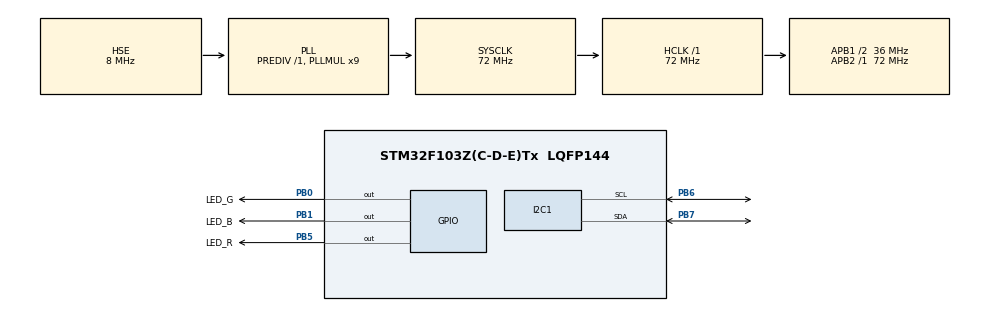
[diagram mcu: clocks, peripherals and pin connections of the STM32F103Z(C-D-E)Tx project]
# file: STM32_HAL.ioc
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I2C1.I2C_Mode=I2C_Fast
Mcu.Family=STM32F1
Mcu.Name=STM32F103Z(C-D-E)Tx
Mcu.Package=LQFP144
NVIC.PriorityGroup=NVIC_PRIORITYGROUP_4
OSC_IN.Mode=HSE-External-Oscillator
OSC_IN.Signal=RCC_OSC_IN
OSC_OUT.Mode=HSE-External-Oscillator
OSC_OUT.Signal=RCC_OSC_OUT
PA13.Mode=JTAG_5_pins
PA13.Signal=SYS_JTMS-SWDIO
PA14.Mode=JTAG_5_pins
PA14.Signal=SYS_JTCK-SWCLK
PA15.Mode=JTAG_5_pins
PA15.Signal=SYS_JTDI
PB0.GPIO_Label=LED_G
PB0.GPIO_Speed=GPIO_SPEED_FREQ_HIGH
PB0.PinState=GPIO_PIN_SET
PB0.Signal=GPIO_Output
PB1.GPIO_Label=LED_B
PB1.GPIO_Speed=GPIO_SPEED_FREQ_HIGH
PB1.PinState=GPIO_PIN_SET
PB1.Signal=GPIO_Output
PB3.Mode=JTAG_5_pins
PB3.Signal=SYS_JTDO-TRACESWO
PB4.Mode=JTAG_5_pins
PB4.Signal=SYS_NJTRST
PB5.GPIO_Label=LED_R
PB5.GPIO_Speed=GPIO_SPEED_FREQ_HIGH
PB5.PinState=GPIO_PIN_SET
PB5.Signal=GPIO_Output
PB6.Mode=I2C
PB6.Signal=I2C1_SCL
PB7.Mode=I2C
PB7.Signal=I2C1_SDA
PC14-OSC32_IN.Mode=LSE-External-Oscillator
PC14-OSC32_IN.Signal=RCC_OSC32_IN
PC15-OSC32_OUT.Mode=LSE-External-Oscillator
PC15-OSC32_OUT.Signal=RCC_OSC32_OUT
ProjectManager.HeapSize=0x200
ProjectManager.StackSize=0x400
ProjectManager.TargetToolchain=CMake
RCC.AHBFreq_Value=72000000
RCC.APB1CLKDivider=RCC_HCLK_DIV2
RCC.APB1Freq_Value=36000000
RCC.APB1TimFreq_Value=72000000
RCC.APB2Freq_Value=72000000
RCC.APB2TimFreq_Value=72000000
RCC.HCLKFreq_Value=72000000
RCC.PLLMUL=RCC_PLL_MUL9
RCC.PLLSourceVirtual=RCC_PLLSOURCE_HSE
RCC.SYSCLKFreq_VALUE=72000000
RCC.SYSCLKSource=RCC_SYSCLKSOURCE_PLLCLK
RCC.USBFreq_Value=72000000
TIM6.Prescaler=72-1
VP_TIM6_VS_ClockSourceINT.Mode=Enable_Timer
board=custom

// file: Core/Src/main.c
/* USER CODE BEGIN Header */
/**
  ******************************************************************************
  * @file           : main.c
  * @brief          : Main program body
  ******************************************************************************
  * @attention
  *
  * Copyright (c) 2024 STMicroelectronics.
  * All rights reserved.
  *
  * This software is licensed under terms that can be found in the LICENSE file
  * in the root directory of this software component.
  * If no LICENSE file comes with this software, it is provided AS-IS.
  *
  ******************************************************************************
  */
/* USER CODE END Header */
#include "main.h"
#include "i2c.h"
#include "tim.h"
#include "gpio.h"

/* USER CODE BEGIN Includes */

#include <stdio.h>
#include "uart.h"
#include "my_dma.h"
#include "oled.h"
#include "tm1637.h"

/* USER CODE END Includes */

/* USER CODE BEGIN PM */

// R: PB5, G: PB0, B: PB1
// #define LED_G 0b111111111111111111111111 11111110
// #define LED_B 0b111111111111111111111111 11111101
// #define LED_R 0b111111111111111111111111 11011111

#define LED_R 0xFFFFFFDF
#define LED_G 0xFFFFFFFE
#define LED_B 0xFFFFFFFD

/* USER CODE END PM */

/* USER CODE BEGIN PV */
uint32_t ledColorArray[] = {LED_R, LED_G, LED_B};
// static uint8_t ledColorIndex = 0;

extern UART_HandleTypeDef uart1Handle;
extern DMA_HandleTypeDef uart1RxDMAHandle;
uint8_t uartRecvBuf[256];
uint32_t count = 0;

extern TIM_HandleTypeDef htim6;

/* USER CODE END PV */

void SystemClock_Config(void);

int main(void)
{

  /* MCU Configuration--------------------------------------------------------*/

  /* Reset of all peripherals, Initializes the Flash interface and the Systick. */
  HAL_Init();

  /* Configure the system clock */
  SystemClock_Config();

  /* Initialize all configured peripherals */
  MX_GPIO_Init();
  MX_I2C1_Init();
  MX_TIM6_Init();
  /* USER CODE BEGIN 2 */

  // UART1 and DMA
  HAL_StatusTypeDef dmaInitStat = InitUART1DMA();
  InitBoardUART();

  // OLED
  // 0x78: OLED i2c address
  OLED_ConfigDisplay(&hi2c1, 0x78);

  HAL_TIM_Base_Start(&htim6);

  if (OLED_InitDisplay() < 0) {
    printf("init OLED screen failed!\r\n");
  } else {
    puts("OLED ok!");
  }

  /* USER CODE END 2 */

  /* Infinite loop */
  /* USER CODE BEGIN WHILE */

  puts("hello UARTx!");
  if (dmaInitStat == HAL_OK) {
    printf("DMA init success!\r\n");
  } else {
    printf("DMA init failed!\r\n");
  }

  __HAL_RCC_GPIOB_CLK_ENABLE();

  // recv data from UART in interrupt mode
  // HAL_UART_Receive_IT(&uart1Handle, uartRecvBuf, 16);

  // enable NVIC interrupt handle for USART1
  HAL_NVIC_SetPriority(USART1_IRQn, 5, 0);
  HAL_NVIC_EnableIRQ(USART1_IRQn);

  // enable NVIC interrupt handle for DMA1 rx
  HAL_NVIC_SetPriority(DMA1_Channel5_IRQn, 4, 0);
  HAL_NVIC_EnableIRQ(DMA1_Channel5_IRQn);

  // enable NVIC interrupt handle for DMA1 tx
  HAL_NVIC_SetPriority(DMA1_Channel4_IRQn, 4, 0);
  HAL_NVIC_EnableIRQ(DMA1_Channel4_IRQn);

  // dma tx test
#if 0
  char buf[] = "hello world DMA\r\n";
  HAL_UART_Transmit_DMA(&uart1Handle, (uint8_t *)buf, sizeof(buf));

  HAL_Delay(10);
  // dma rx
  // HAL_UART_Receive_DMA(&uart1Handle, (uint8_t*)uartRecvBuf, sizeof(uartRecvBuf));
  // start rx DMA
  HAL_UARTEx_ReceiveToIdle_DMA(&uart1Handle, (uint8_t*)uartRecvBuf, sizeof(uartRecvBuf));
  // disable DMA half-complete interrupt
  __HAL_DMA_DISABLE_IT(&uart1RxDMAHandle, DMA_IT_HT);
#endif

  tm1637Init();
  tm1637Display("1234", 4);

  // OLED_Test();

  while (1)
  {
    /* USER CODE END WHILE */

    /* USER CODE BEGIN 3 */

    GPIOB->ODR = LED_R;
    HAL_Delay(500);
    GPIOB->ODR = LED_G;
    HAL_Delay(500);
    GPIOB->ODR = LED_B;
    HAL_Delay(500);
    count++;
    tm1637DisplayInt(count);

    // sprintf(cbuf, "count: %lu", count);
    // oledShowString(0, 0, cbuf);
  }
  /* USER CODE END 3 */
}

void SystemClock_Config(void)
{
  RCC_OscInitTypeDef RCC_OscInitStruct = {0};
  RCC_ClkInitTypeDef RCC_ClkInitStruct = {0};

  /** Initializes the RCC Oscillators according to the specified parameters
  * in the RCC_OscInitTypeDef structure.
  */
  RCC_OscInitStruct.OscillatorType = RCC_OSCILLATORTYPE_HSE;
  RCC_OscInitStruct.HSEState = RCC_HSE_ON;
  RCC_OscInitStruct.HSEPredivValue = RCC_HSE_PREDIV_DIV1;
  RCC_OscInitStruct.HSIState = RCC_HSI_ON;
  RCC_OscInitStruct.PLL.PLLState = RCC_PLL_ON;
  RCC_OscInitStruct.PLL.PLLSource = RCC_PLLSOURCE_HSE;
  RCC_OscInitStruct.PLL.PLLMUL = RCC_PLL_MUL9;
  if (HAL_RCC_OscConfig(&RCC_OscInitStruct) != HAL_OK)
  {
    Error_Handler();
  }

  /** Initializes the CPU, AHB and APB buses clocks
  */
  RCC_ClkInitStruct.ClockType = RCC_CLOCKTYPE_HCLK|RCC_CLOCKTYPE_SYSCLK
                              |RCC_CLOCKTYPE_PCLK1|RCC_CLOCKTYPE_PCLK2;
  RCC_ClkInitStruct.SYSCLKSource = RCC_SYSCLKSOURCE_PLLCLK;
  RCC_ClkInitStruct.AHBCLKDivider = RCC_SYSCLK_DIV1;
  RCC_ClkInitStruct.APB1CLKDivider = RCC_HCLK_DIV2;
  RCC_ClkInitStruct.APB2CLKDivider = RCC_HCLK_DIV1;

  if (HAL_RCC_ClockConfig(&RCC_ClkInitStruct, FLASH_LATENCY_2) != HAL_OK)
  {
    Error_Handler();
  }
}

/* USER CODE BEGIN 4 */
int __io_putchar(int ch)
{
    HAL_UART_Transmit(&uart1Handle, (uint8_t *)&ch, 1, HAL_MAX_DELAY);
    return 0;
}
/* USER CODE END 4 */

void Error_Handler(void)
{
  __disable_irq();
  while (1)
  {
  }
}
